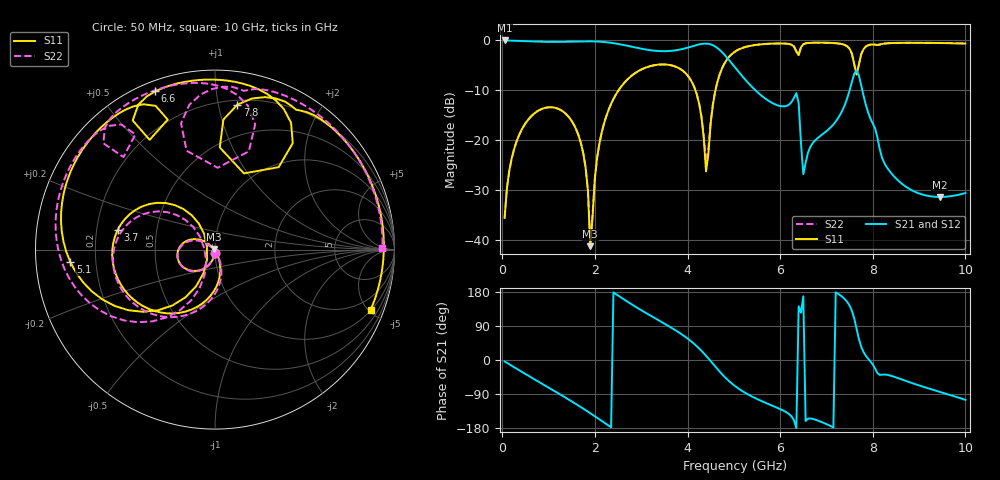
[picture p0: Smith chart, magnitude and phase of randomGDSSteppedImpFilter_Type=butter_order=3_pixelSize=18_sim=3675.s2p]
! freq	dB(S11)	phase(S11)	dB(S12)	phase(S12)
!  dB(S21)	phase(S21)	dB(S22)	phase(S22)
!S-par simulation data
#  GHz  S  DB  R 50
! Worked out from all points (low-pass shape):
!   200 points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, 50 MHz to 10 GHz, reference 50 ohm
!   highest |S21| = -0.01 dB at 50 MHz (marker M1); lowest = -31.4 dB at 9.45 GHz (marker M2)
!   |S21| within 3 dB of the highest: start of sweep to 4.81 GHz
!   lowest |S11| = -41.3 dB at 1.9 GHz (marker M3), VSWR 1.02, Z = 49.2 + j0.348 ohm
!   |S11| at or under -10 dB: start of sweep to 2.513 GHz; 4.169 GHz to 4.603 GHz (434.6 MHz wide, 9.91 % of centre)
!   |S22| runs from -40.5 to -0.5 dB; largest |S21 - S12| = 0
!   S11 on the Smith chart (normalised r, x): 50 MHz: 1.00, -0.03; 3.7 GHz: 0.29, +0.09; 5.1 GHz: 0.11, -0.04; 6.6 GHz: 0.04, +0.69; 7.8 GHz: 0.23, +1.14; 10 GHz: 1.03, -5.12
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0.05  -35.66 -93.3  -0.01 -3.8  -0.01 -3.8  -35.66 -93.2
0.7  -14.60 -142.4  -0.22 -51.4  -0.22 -51.4  -14.60 -141.1
1.75  -22.74 142.1  -0.19 -128.5  -0.19 -128.5  -22.75 146.4
1.9  -41.33 155.7  -0.18 -140.4  -0.18 -140.4  -40.50 169.5
2.05  -23.43 -68.8  -0.22 -152.7  -0.22 -152.7  -23.38 -67.0
2.3  -13.84 -87.4  -0.42 -173.4  -0.42 -173.4  -13.82 -84.0
3.4  -4.84 -170.0  -2.15 103.1  -2.15 103.1  -4.83 -163.7
3.7  -5.14 168.8  -2.05 81.5  -2.05 81.5  -5.13 176.1
4.2  -10.85 127.9  -0.92 36.4  -0.92 36.4  -10.81 138.0
4.4  -26.32 159.2  -0.64 11.2  -0.64 11.2  -24.43 173.2
4.65  -8.18 -127.2  -1.56 -24.6  -1.56 -24.6  -8.12 -120.2
5.05  -2.10 -170.6  -5.71 -71.0  -5.71 -71.0  -2.09 -161.2
5.1  -1.85 -175.0  -6.28 -75.3  -6.28 -75.3  -1.83 -165.3
6.35  -2.26 110.0  -10.58 -179.8  -10.58 -179.8  -2.15 124.6
6.5  -0.78 117.8  -26.87 167.9  -26.87 167.9  -0.76 132.1
6.6  -0.51 110.7  -22.60 -154.8  -22.60 -154.8  -0.51 125.5
6.7  -0.46 105.2  -20.68 -155.4  -20.68 -155.4  -0.46 120.4
7.55  -2.68 53.9  -8.31 129.8  -8.31 129.8  -2.70 72.2
7.8  -1.75 81.2  -11.08 21.2  -11.08 21.2  -1.73 100.1
8.35  -0.55 49.0  -26.09 -40.1  -26.09 -40.1  -0.56 69.5
9.45  -0.52 2.5  -31.44 -84.2  -31.44 -84.2  -0.51 24.6
10  -0.63 -21.3  -30.66 -105.2  -30.66 -105.2  -0.60 0.6
